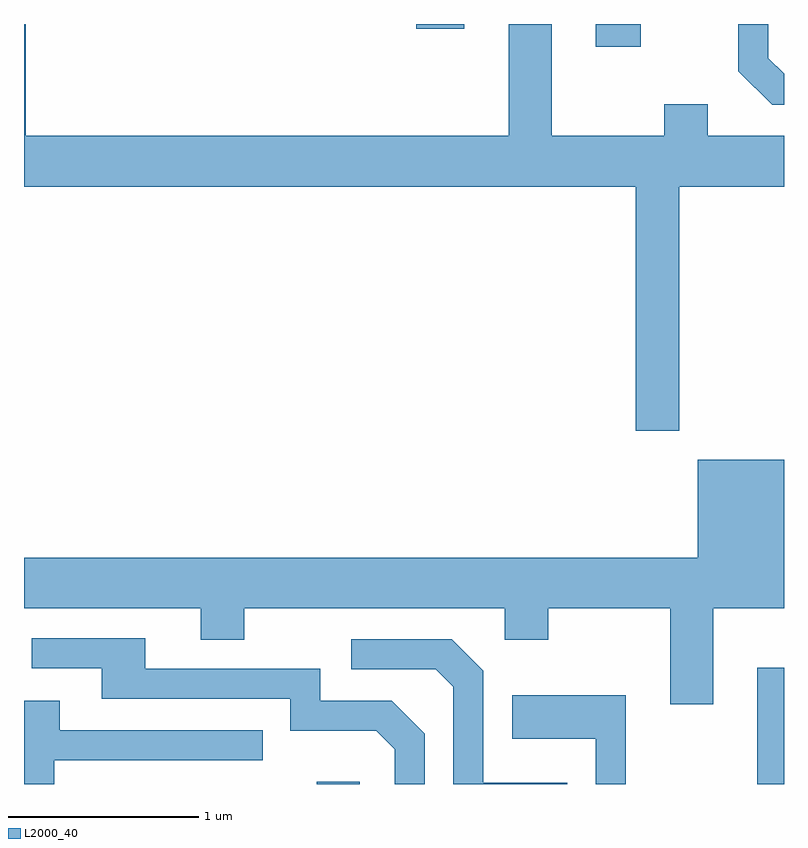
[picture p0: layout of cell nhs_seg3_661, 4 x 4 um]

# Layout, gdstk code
import gdstk
lib = gdstk.Library(unit=1e-6, precision=1e-09)
def R(c, l, rs):  # rectangles x0, y0, x1, y1
    for r in rs: c.add(gdstk.rectangle(r[:2], r[2:], *l))
def P(c, l, *ps):  # polygons
    for p in ps: c.add(gdstk.Polygon(p, *l))
L2000_40 = (2000, 40)

nhs_seg3_661 = lib.new_cell('nhs_seg3_661')
R(nhs_seg3_661, L2000_40, [(205.151,1213.892,205.379,1213.904), (207.471,1213.892,207.611,1214.504), (206.621,1217.771,206.858,1217.892), (205.676,1217.866,205.929,1217.892)])
P(nhs_seg3_661, L2000_40, [(207.059,1217.036),(207.611,1217.036),(207.611,1217.304),(207.209,1217.304),(207.209,1217.469),(206.981,1217.469),(206.981,1217.304),(206.389,1217.304),(206.389,1217.892),(206.161,1217.892),(206.161,1217.304),(203.619,1217.304),(203.619,1217.892),(203.611,1217.892),(203.611,1217.036),(206.831,1217.036),(206.831,1215.751),(207.059,1215.751)],
  [(207.611,1217.63),(207.529,1217.712),(207.529,1217.892),(207.371,1217.892),(207.371,1217.644),(207.549,1217.466),(207.611,1217.466)],
  [(207.239,1214.816),(207.611,1214.816),(207.611,1215.599),(207.156,1215.599),(207.156,1215.084),(203.611,1215.084),(203.611,1214.816),(204.541,1214.816),(204.541,1214.651),(204.769,1214.651),(204.769,1214.816),(206.141,1214.816),(206.141,1214.651),(206.369,1214.651),(206.369,1214.816),(207.011,1214.816),(207.011,1214.311),(207.239,1214.311)],
  [(205.719,1214.157),(205.547,1214.329),(205.169,1214.329),(205.169,1214.499),(204.249,1214.499),(204.249,1214.659),(203.653,1214.659),(203.653,1214.501),(204.021,1214.501),(204.021,1214.341),(205.011,1214.341),(205.011,1214.171),(205.464,1214.171),(205.561,1214.074),(205.561,1213.892),(205.719,1213.892)],
  [(206.469,1213.899),(206.029,1213.899),(206.029,1214.487),(205.862,1214.654),(205.333,1214.654),(205.333,1214.496),(205.779,1214.496),(205.871,1214.404),(205.871,1213.892),(206.469,1213.892)],
  [(206.779,1214.359),(206.181,1214.359),(206.181,1214.131),(206.621,1214.131),(206.621,1213.892),(206.779,1213.892)],
  [(203.769,1214.016),(204.868,1214.016),(204.868,1214.174),(203.799,1214.174),(203.799,1214.329),(203.611,1214.329),(203.611,1213.892),(203.769,1213.892)])

lib.write_gds('nhs_seg3_661.gds')
